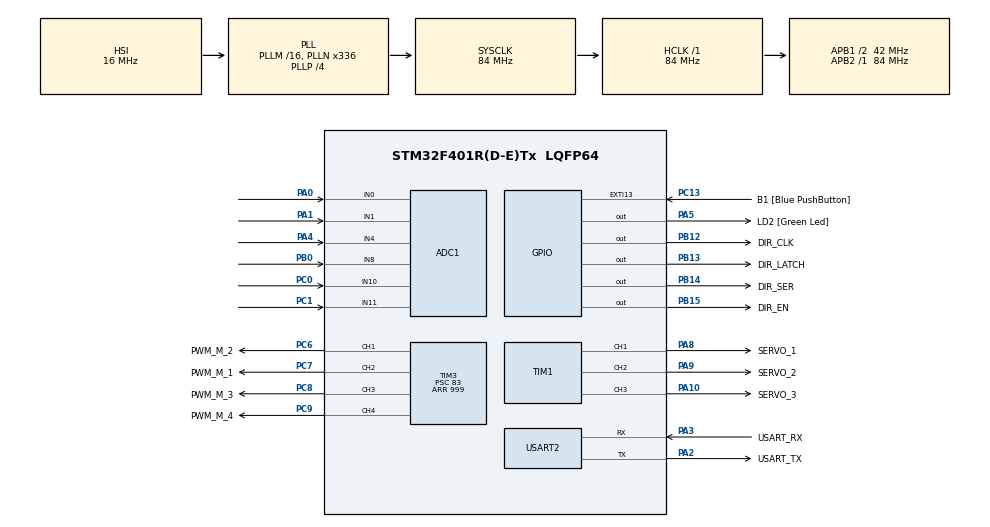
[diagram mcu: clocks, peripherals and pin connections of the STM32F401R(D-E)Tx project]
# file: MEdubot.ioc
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ADC1.Channel-0\#ChannelRegularConversion=ADC_CHANNEL_0
ADC1.Channel-1\#ChannelRegularConversion=ADC_CHANNEL_1
ADC1.Channel-2\#ChannelRegularConversion=ADC_CHANNEL_4
ADC1.Channel-3\#ChannelRegularConversion=ADC_CHANNEL_8
ADC1.Channel-4\#ChannelRegularConversion=ADC_CHANNEL_10
ADC1.Channel-5\#ChannelRegularConversion=ADC_CHANNEL_11
ADC1.ContinuousConvMode=DISABLE
ADC1.NbrOfConversion=6
ADC1.NbrOfConversionFlag=1
ADC1.Rank-0\#ChannelRegularConversion=1
ADC1.Rank-1\#ChannelRegularConversion=2
ADC1.Rank-2\#ChannelRegularConversion=3
ADC1.Rank-3\#ChannelRegularConversion=4
ADC1.Rank-4\#ChannelRegularConversion=5
ADC1.Rank-5\#ChannelRegularConversion=6
ADC1.SamplingTime-0\#ChannelRegularConversion=ADC_SAMPLETIME_3CYCLES
ADC1.SamplingTime-1\#ChannelRegularConversion=ADC_SAMPLETIME_3CYCLES
ADC1.SamplingTime-2\#ChannelRegularConversion=ADC_SAMPLETIME_3CYCLES
ADC1.SamplingTime-3\#ChannelRegularConversion=ADC_SAMPLETIME_3CYCLES
ADC1.SamplingTime-4\#ChannelRegularConversion=ADC_SAMPLETIME_3CYCLES
ADC1.SamplingTime-5\#ChannelRegularConversion=ADC_SAMPLETIME_3CYCLES
ADC1.master=1
Dma.ADC1.0.Direction=DMA_PERIPH_TO_MEMORY
Dma.ADC1.0.FIFOMode=DMA_FIFOMODE_DISABLE
Dma.ADC1.0.Instance=DMA2_Stream0
Dma.ADC1.0.MemDataAlignment=DMA_MDATAALIGN_HALFWORD
Dma.ADC1.0.MemInc=DMA_MINC_ENABLE
Dma.ADC1.0.Mode=DMA_NORMAL
Dma.ADC1.0.PeriphDataAlignment=DMA_PDATAALIGN_HALFWORD
Dma.ADC1.0.PeriphInc=DMA_PINC_DISABLE
Dma.ADC1.0.Priority=DMA_PRIORITY_LOW
Dma.Request0=ADC1
Mcu.Family=STM32F4
Mcu.Name=STM32F401R(D-E)Tx
Mcu.Package=LQFP64
NVIC.DMA2_Stream0_IRQn=true\:0\:0\:false\:false\:true\:false\:true\:true
NVIC.PriorityGroup=NVIC_PRIORITYGROUP_0
PA0-WKUP.Signal=ADCx_IN0
PA1.Signal=ADCx_IN1
PA10.GPIO_Label=SERVO_3
PA10.GPIO_PuPd=GPIO_PULLDOWN
PA10.Signal=S_TIM1_CH3
PA13.GPIO_Label=TMS
PA13.Mode=Serial_Wire
PA13.Signal=SYS_JTMS-SWDIO
PA14.GPIO_Label=TCK
PA14.Mode=Serial_Wire
PA14.Signal=SYS_JTCK-SWCLK
PA2.GPIO_Label=USART_TX
PA2.GPIO_Mode=GPIO_MODE_AF_PP
PA2.GPIO_PuPd=GPIO_NOPULL
PA2.GPIO_Speed=GPIO_SPEED_FREQ_LOW
PA2.Mode=Asynchronous
PA2.Signal=USART2_TX
PA3.GPIO_Label=USART_RX
PA3.GPIO_Mode=GPIO_MODE_AF_PP
PA3.GPIO_PuPd=GPIO_NOPULL
PA3.GPIO_Speed=GPIO_SPEED_FREQ_LOW
PA3.Mode=Asynchronous
PA3.Signal=USART2_RX
PA4.Signal=ADCx_IN4
PA5.GPIO_Label=LD2 [Green Led]
PA5.GPIO_Mode=GPIO_MODE_OUTPUT_PP
PA5.GPIO_PuPd=GPIO_NOPULL
PA5.GPIO_Speed=GPIO_SPEED_FREQ_LOW
PA5.Signal=GPIO_Output
PA8.GPIO_Label=SERVO_1
PA8.GPIO_PuPd=GPIO_PULLDOWN
PA8.Signal=S_TIM1_CH1
PA9.GPIO_Label=SERVO_2
PA9.GPIO_PuPd=GPIO_PULLDOWN
PA9.Signal=S_TIM1_CH2
PB0.Signal=ADCx_IN8
PB12.GPIO_Label=DIR_CLK
PB12.Signal=GPIO_Output
PB13.GPIO_Label=DIR_LATCH
PB13.Signal=GPIO_Output
PB14.GPIO_Label=DIR_SER
PB14.Signal=GPIO_Output
PB15.GPIO_Label=DIR_EN
PB15.Signal=GPIO_Output
PC0.Signal=ADCx_IN10
PC1.Signal=ADCx_IN11
PC13-ANTI_TAMP.GPIO_Label=B1 [Blue PushButton]
PC13-ANTI_TAMP.GPIO_ModeDefaultEXTI=GPIO_MODE_IT_FALLING
PC13-ANTI_TAMP.GPIO_PuPd=GPIO_NOPULL
PC13-ANTI_TAMP.Signal=GPXTI13
PC14-OSC32_IN.Mode=LSE-External-Oscillator
PC14-OSC32_IN.Signal=RCC_OSC32_IN
PC15-OSC32_OUT.Mode=LSE-External-Oscillator
PC15-OSC32_OUT.Signal=RCC_OSC32_OUT
PC6.GPIO_Label=PWM_M_2
PC6.GPIO_PuPd=GPIO_PULLDOWN
PC6.Signal=S_TIM3_CH1
PC7.GPIO_Label=PWM_M_1
PC7.GPIO_PuPd=GPIO_PULLDOWN
PC7.Signal=S_TIM3_CH2
PC8.GPIO_Label=PWM_M_3
PC8.GPIO_PuPd=GPIO_PULLDOWN
PC8.Signal=S_TIM3_CH3
PC9.GPIO_Label=PWM_M_4
PC9.GPIO_PuPd=GPIO_PULLDOWN
PC9.Signal=S_TIM3_CH4
PH0\ -\ OSC_IN.Mode=HSE-External-Clock-Source
PH0\ -\ OSC_IN.Signal=RCC_OSC_IN
PH1\ -\ OSC_OUT.Mode=HSE-External-Clock-Source
PH1\ -\ OSC_OUT.Signal=RCC_OSC_OUT
ProjectManager.HeapSize=0x200
ProjectManager.StackSize=0x400
ProjectManager.TargetToolchain=STM32CubeIDE
RCC.48MHZClocksFreq_Value=48000000
RCC.AHBFreq_Value=84000000
RCC.APB1CLKDivider=RCC_HCLK_DIV2
RCC.APB1Freq_Value=42000000
RCC.APB1TimFreq_Value=84000000
RCC.APB2Freq_Value=84000000
RCC.APB2TimFreq_Value=84000000
RCC.CortexFreq_Value=84000000
RCC.HCLKFreq_Value=84000000
RCC.HSE_VALUE=8000000
RCC.HSI_VALUE=16000000
RCC.PLLN=336
RCC.PLLP=RCC_PLLP_DIV4
RCC.PLLQ=7
RCC.SYSCLKFreq_VALUE=84000000
RCC.SYSCLKSource=RCC_SYSCLKSOURCE_PLLCLK
RCC.VCOOutputFreq_Value=336000000
SH.ADCx_IN0.0=ADC1_IN0,IN0
SH.ADCx_IN1.0=ADC1_IN1,IN1
SH.ADCx_IN10.0=ADC1_IN10,IN10
SH.ADCx_IN11.0=ADC1_IN11,IN11
SH.ADCx_IN4.0=ADC1_IN4,IN4
SH.ADCx_IN8.0=ADC1_IN8,IN8
SH.S_TIM1_CH1.0=TIM1_CH1,PWM Generation1 CH1
SH.S_TIM1_CH2.0=TIM1_CH2,PWM Generation2 CH2
SH.S_TIM1_CH3.0=TIM1_CH3,PWM Generation3 CH3
SH.S_TIM3_CH1.0=TIM3_CH1,PWM Generation1 CH1
SH.S_TIM3_CH2.0=TIM3_CH2,PWM Generation2 CH2
SH.S_TIM3_CH3.0=TIM3_CH3,PWM Generation3 CH3
SH.S_TIM3_CH4.0=TIM3_CH4,PWM Generation4 CH4
TIM1.Channel-PWM\ Generation1\ CH1=TIM_CHANNEL_1
TIM1.Channel-PWM\ Generation2\ CH2=TIM_CHANNEL_2
TIM1.Channel-PWM\ Generation3\ CH3=TIM_CHANNEL_3
TIM3.Channel-PWM\ Generation1\ CH1=TIM_CHANNEL_1
TIM3.Channel-PWM\ Generation2\ CH2=TIM_CHANNEL_2
TIM3.Channel-PWM\ Generation3\ CH3=TIM_CHANNEL_3
TIM3.Channel-PWM\ Generation4\ CH4=TIM_CHANNEL_4
TIM3.Period=999
TIM3.Prescaler=83
USART2.VirtualMode=VM_ASYNC
VP_TIM1_VS_ClockSourceINT.Mode=Internal
VP_TIM2_VS_ClockSourceINT.Mode=Internal
VP_TIM3_VS_ClockSourceINT.Mode=Internal
VP_TIM4_VS_ClockSourceINT.Mode=Internal
board=NUCLEO-F401RE

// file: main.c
/* USER CODE BEGIN Header */
/**
 ******************************************************************************
 * @file           : main.c
 * @brief          : Main program body
 ******************************************************************************
 * @attention
 *
 * Copyright (c) 2024 STMicroelectronics.
 * All rights reserved.
 *
 * This software is licensed under terms that can be found in the LICENSE file
 * in the root directory of this software component.
 * If no LICENSE file comes with this software, it is provided AS-IS.
 *
 ******************************************************************************
 */
/* USER CODE END Header */
#include "main.h"

/* USER CODE BEGIN PD */
#define MAX_SPEED 1000.0
#define MOTOR_DIR_FORWARD 0
#define MOTOR_DIR_STOP 1
#define MOTOR_DIR_BACK 2
#define ADC_THRESHOLD 1500
/* USER CODE END PD */

ADC_HandleTypeDef hadc1;
DMA_HandleTypeDef hdma_adc1;

TIM_HandleTypeDef htim1;
TIM_HandleTypeDef htim2;
TIM_HandleTypeDef htim3;
TIM_HandleTypeDef htim4;

UART_HandleTypeDef huart2;

/* USER CODE BEGIN PV */
uint16_t adc[6]={0};
/* USER CODE END PV */

void SystemClock_Config(void);
static void MX_GPIO_Init(void);
static void MX_DMA_Init(void);
static void MX_USART2_UART_Init(void);
static void MX_TIM2_Init(void);
static void MX_TIM3_Init(void);
static void MX_TIM4_Init(void);
static void MX_TIM1_Init(void);
static void MX_ADC1_Init(void);

/* USER CODE BEGIN 0 */
void setDirection(uint8_t left, uint8_t right) {
	uint8_t dirMessage = 0b00000000;
	uint8_t i = 0;
	if (left ==MOTOR_DIR_FORWARD) {
		dirMessage |= 0b00010000; //hátra 0b00100000
	}
	if (left == MOTOR_DIR_BACK) {
		dirMessage |= 0b00100000;
	}
	if (left == MOTOR_DIR_STOP) {
		dirMessage |= 0b00000000;
	}
	if (right ==MOTOR_DIR_FORWARD) {
		dirMessage |= 0b10000000; //hátra: 0b00000010
	}
	if (right == MOTOR_DIR_BACK) {
		dirMessage |= 0b00000010;
	}
	if (right == MOTOR_DIR_STOP) {
		dirMessage |= 0b00000000;
	}

	HAL_GPIO_WritePin(DIR_EN_GPIO_Port, DIR_EN_Pin, 0);
	HAL_GPIO_WritePin(DIR_LATCH_GPIO_Port, DIR_LATCH_Pin, 0);
	for (i = 0; i < 8; ++i) {

		if ((dirMessage) & (1 << (i))) {
			HAL_GPIO_WritePin(DIR_SER_GPIO_Port, DIR_SER_Pin, 1);
		} else {
			HAL_GPIO_WritePin(DIR_SER_GPIO_Port, DIR_SER_Pin, 0);
		}
		HAL_Delay(1);
		HAL_GPIO_WritePin(DIR_CLK_GPIO_Port, DIR_CLK_Pin, 1);
		HAL_Delay(1);
		HAL_GPIO_WritePin(DIR_CLK_GPIO_Port, DIR_CLK_Pin, 0);

	}
	HAL_Delay(1);
	HAL_GPIO_WritePin(DIR_LATCH_GPIO_Port, DIR_LATCH_Pin, 1);
	HAL_Delay(1);
	HAL_GPIO_WritePin(DIR_LATCH_GPIO_Port, DIR_LATCH_Pin, 0);

}

uint8_t getDirectionFromSpeed(int32_t speed) {
	uint8_t retValue = MOTOR_DIR_STOP;
	if (speed > 0) {
		retValue = MOTOR_DIR_FORWARD;
	} else if (speed < 0) {
		retValue = MOTOR_DIR_BACK;
	}
	return retValue;
}

uint16_t getPWMFromSpeed(int32_t speed) {
	if (speed < 0) {
		speed = speed * -1;
	}
	if (speed > MAX_SPEED) {
		speed = MAX_SPEED;
	}
	return (speed / MAX_SPEED) * htim3.Instance->ARR;
}
void setSpeed(int16_t left, int16_t right) {
	uint8_t dirLeft = getDirectionFromSpeed(left);
	uint8_t dirRight = getDirectionFromSpeed(right);
	setDirection(dirLeft, dirRight);
	htim3.Instance->CCR2 = getPWMFromSpeed(left);
	htim3.Instance->CCR3 = getPWMFromSpeed(right);
}

void determineSpeedFromAdcValues(int16_t* speedValues) {
	// BOTH wheel
	if (adc[1] > ADC_THRESHOLD) {
		speedValues[0] = 375;
		speedValues[1] = 375;
	// LEFT wheel
	} else if (adc[0] > ADC_THRESHOLD) {
		speedValues[0] = 0;
		speedValues[1] = 400;
	// RIGHT wheel
	} else if (adc[2] > ADC_THRESHOLD) {
		speedValues[0] = 400;
		speedValues[1] = 0;
	// STOP when no path found
	} else {
		speedValues[0] = 0;
		speedValues[1] = 0;
	}
}

/*
 * Obsolete function.
 * It was used for compensate left speed, ioc file configuration change handled this bug.
 */

int16_t equalizeLeftSpeed(int16_t left) {
	if (left > 0) {
		return left + 150;
	} else if (left < 0) {
		return left - 150;
	}
	return 0;
}
/* USER CODE END 0 */

int main(void)
{

  /* MCU Configuration--------------------------------------------------------*/

  /* Reset of all peripherals, Initializes the Flash interface and the Systick. */
  HAL_Init();

  /* Configure the system clock */
  SystemClock_Config();

  /* Initialize all configured peripherals */
  MX_GPIO_Init();
  MX_DMA_Init();
  MX_USART2_UART_Init();
  MX_TIM2_Init();
  MX_TIM3_Init();
  MX_TIM4_Init();
  MX_TIM1_Init();
  MX_ADC1_Init();
  /* USER CODE BEGIN 2 */
	HAL_TIM_PWM_Start(&htim3, TIM_CHANNEL_2);
	HAL_TIM_PWM_Start(&htim3, TIM_CHANNEL_3);
	int8_t isRunning = 0;
	int16_t speedValues[2];
	setSpeed(0, 0);
  /* USER CODE END 2 */

  /* Infinite loop */
  /* USER CODE BEGIN WHILE */
	while (1) {
		HAL_Delay(100);
		HAL_ADC_Start_DMA(&hadc1, adc, 6);
		HAL_GPIO_TogglePin(LD2_GPIO_Port, LD2_Pin);
		if(!HAL_GPIO_ReadPin(B1_GPIO_Port, B1_Pin)){
			isRunning = isRunning == 0 ? 1 : 0;
		}

		if (isRunning == 1) {
			determineSpeedFromAdcValues(speedValues);
			setSpeed(speedValues[0], speedValues[1]);
		} else {
			setSpeed(0,0);
		}

    /* USER CODE END WHILE */

	}
}

void SystemClock_Config(void)
{
  RCC_OscInitTypeDef RCC_OscInitStruct = {0};
  RCC_ClkInitTypeDef RCC_ClkInitStruct = {0};

  /** Configure the main internal regulator output voltage
  */
  __HAL_RCC_PWR_CLK_ENABLE();
  __HAL_PWR_VOLTAGESCALING_CONFIG(PWR_REGULATOR_VOLTAGE_SCALE2);

  /** Initializes the RCC Oscillators according to the specified parameters
  * in the RCC_OscInitTypeDef structure.
  */
  RCC_OscInitStruct.OscillatorType = RCC_OSCILLATORTYPE_HSI;
  RCC_OscInitStruct.HSIState = RCC_HSI_ON;
  RCC_OscInitStruct.HSICalibrationValue = RCC_HSICALIBRATION_DEFAULT;
  RCC_OscInitStruct.PLL.PLLState = RCC_PLL_ON;
  RCC_OscInitStruct.PLL.PLLSource = RCC_PLLSOURCE_HSI;
  RCC_OscInitStruct.PLL.PLLM = 16;
  RCC_OscInitStruct.PLL.PLLN = 336;
  RCC_OscInitStruct.PLL.PLLP = RCC_PLLP_DIV4;
  RCC_OscInitStruct.PLL.PLLQ = 7;
  if (HAL_RCC_OscConfig(&RCC_OscInitStruct) != HAL_OK)
  {
    Error_Handler();
  }

  /** Initializes the CPU, AHB and APB buses clocks
  */
  RCC_ClkInitStruct.ClockType = RCC_CLOCKTYPE_HCLK|RCC_CLOCKTYPE_SYSCLK
                              |RCC_CLOCKTYPE_PCLK1|RCC_CLOCKTYPE_PCLK2;
  RCC_ClkInitStruct.SYSCLKSource = RCC_SYSCLKSOURCE_PLLCLK;
  RCC_ClkInitStruct.AHBCLKDivider = RCC_SYSCLK_DIV1;
  RCC_ClkInitStruct.APB1CLKDivider = RCC_HCLK_DIV2;
  RCC_ClkInitStruct.APB2CLKDivider = RCC_HCLK_DIV1;

  if (HAL_RCC_ClockConfig(&RCC_ClkInitStruct, FLASH_LATENCY_2) != HAL_OK)
  {
    Error_Handler();
  }
}

static void MX_ADC1_Init(void)
{

  ADC_ChannelConfTypeDef sConfig = {0};

  /** Configure the global features of the ADC (Clock, Resolution, Data Alignment and number of conversion)
  */
  hadc1.Instance = ADC1;
  hadc1.Init.ClockPrescaler = ADC_CLOCK_SYNC_PCLK_DIV4;
  hadc1.Init.Resolution = ADC_RESOLUTION_12B;
  hadc1.Init.ScanConvMode = ENABLE;
  hadc1.Init.ContinuousConvMode = DISABLE;
  hadc1.Init.DiscontinuousConvMode = DISABLE;
  hadc1.Init.ExternalTrigConvEdge = ADC_EXTERNALTRIGCONVEDGE_NONE;
  hadc1.Init.ExternalTrigConv = ADC_SOFTWARE_START;
  hadc1.Init.DataAlign = ADC_DATAALIGN_RIGHT;
  hadc1.Init.NbrOfConversion = 6;
  hadc1.Init.DMAContinuousRequests = DISABLE;
  hadc1.Init.EOCSelection = ADC_EOC_SINGLE_CONV;
  if (HAL_ADC_Init(&hadc1) != HAL_OK)
  {
    Error_Handler();
  }

  /** Configure for the selected ADC regular channel its corresponding rank in the sequencer and its sample time.
  */
  sConfig.Channel = ADC_CHANNEL_0;
  sConfig.Rank = 1;
  sConfig.SamplingTime = ADC_SAMPLETIME_3CYCLES;
  if (HAL_ADC_ConfigChannel(&hadc1, &sConfig) != HAL_OK)
  {
    Error_Handler();
  }

  /** Configure for the selected ADC regular channel its corresponding rank in the sequencer and its sample time.
  */
  sConfig.Channel = ADC_CHANNEL_1;
  sConfig.Rank = 2;
  if (HAL_ADC_ConfigChannel(&hadc1, &sConfig) != HAL_OK)
  {
    Error_Handler();
  }

  /** Configure for the selected ADC regular channel its corresponding rank in the sequencer and its sample time.
  */
  sConfig.Channel = ADC_CHANNEL_4;
  sConfig.Rank = 3;
  if (HAL_ADC_ConfigChannel(&hadc1, &sConfig) != HAL_OK)
  {
    Error_Handler();
  }

  /** Configure for the selected ADC regular channel its corresponding rank in the sequencer and its sample time.
  */
  sConfig.Channel = ADC_CHANNEL_8;
  sConfig.Rank = 4;
  if (HAL_ADC_ConfigChannel(&hadc1, &sConfig) != HAL_OK)
  {
    Error_Handler();
  }

  /** Configure for the selected ADC regular channel its corresponding rank in the sequencer and its sample time.
  */
  sConfig.Channel = ADC_CHANNEL_10;
  sConfig.Rank = 5;
  if (HAL_ADC_ConfigChannel(&hadc1, &sConfig) != HAL_OK)
  {
    Error_Handler();
  }

  /** Configure for the selected ADC regular channel its corresponding rank in the sequencer and its sample time.
  */
  sConfig.Channel = ADC_CHANNEL_11;
  sConfig.Rank = 6;
  if (HAL_ADC_ConfigChannel(&hadc1, &sConfig) != HAL_OK)
  {
    Error_Handler();
  }

}

static void MX_TIM1_Init(void)
{

  TIM_ClockConfigTypeDef sClockSourceConfig = {0};
  TIM_MasterConfigTypeDef sMasterConfig = {0};
  TIM_OC_InitTypeDef sConfigOC = {0};
  TIM_BreakDeadTimeConfigTypeDef sBreakDeadTimeConfig = {0};

  htim1.Instance = TIM1;
  htim1.Init.Prescaler = 0;
  htim1.Init.CounterMode = TIM_COUNTERMODE_UP;
  htim1.Init.Period = 65535;
  htim1.Init.ClockDivision = TIM_CLOCKDIVISION_DIV1;
  htim1.Init.RepetitionCounter = 0;
  htim1.Init.AutoReloadPreload = TIM_AUTORELOAD_PRELOAD_DISABLE;
  if (HAL_TIM_Base_Init(&htim1) != HAL_OK)
  {
    Error_Handler();
  }
  sClockSourceConfig.ClockSource = TIM_CLOCKSOURCE_INTERNAL;
  if (HAL_TIM_ConfigClockSource(&htim1, &sClockSourceConfig) != HAL_OK)
  {
    Error_Handler();
  }
  if (HAL_TIM_PWM_Init(&htim1) != HAL_OK)
  {
    Error_Handler();
  }
  sMasterConfig.MasterOutputTrigger = TIM_TRGO_RESET;
  sMasterConfig.MasterSlaveMode = TIM_MASTERSLAVEMODE_DISABLE;
  if (HAL_TIMEx_MasterConfigSynchronization(&htim1, &sMasterConfig) != HAL_OK)
  {
    Error_Handler();
  }
  sConfigOC.OCMode = TIM_OCMODE_PWM1;
  sConfigOC.Pulse = 0;
  sConfigOC.OCPolarity = TIM_OCPOLARITY_HIGH;
  sConfigOC.OCNPolarity = TIM_OCNPOLARITY_HIGH;
  sConfigOC.OCFastMode = TIM_OCFAST_DISABLE;
  sConfigOC.OCIdleState = TIM_OCIDLESTATE_RESET;
  sConfigOC.OCNIdleState = TIM_OCNIDLESTATE_RESET;
  if (HAL_TIM_PWM_ConfigChannel(&htim1, &sConfigOC, TIM_CHANNEL_1) != HAL_OK)
  {
    Error_Handler();
  }
  if (HAL_TIM_PWM_ConfigChannel(&htim1, &sConfigOC, TIM_CHANNEL_2) != HAL_OK)
  {
    Error_Handler();
  }
  if (HAL_TIM_PWM_ConfigChannel(&htim1, &sConfigOC, TIM_CHANNEL_3) != HAL_OK)
  {
    Error_Handler();
  }
  sBreakDeadTimeConfig.OffStateRunMode = TIM_OSSR_DISABLE;
  sBreakDeadTimeConfig.OffStateIDLEMode = TIM_OSSI_DISABLE;
  sBreakDeadTimeConfig.LockLevel = TIM_LOCKLEVEL_OFF;
  sBreakDeadTimeConfig.DeadTime = 0;
  sBreakDeadTimeConfig.BreakState = TIM_BREAK_DISABLE;
  sBreakDeadTimeConfig.BreakPolarity = TIM_BREAKPOLARITY_HIGH;
  sBreakDeadTimeConfig.AutomaticOutput = TIM_AUTOMATICOUTPUT_DISABLE;
  if (HAL_TIMEx_ConfigBreakDeadTime(&htim1, &sBreakDeadTimeConfig) != HAL_OK)
  {
    Error_Handler();
  }
  HAL_TIM_MspPostInit(&htim1);

}

static void MX_TIM2_Init(void)
{

  TIM_ClockConfigTypeDef sClockSourceConfig = {0};
  TIM_MasterConfigTypeDef sMasterConfig = {0};

  htim2.Instance = TIM2;
  htim2.Init.Prescaler = 0;
  htim2.Init.CounterMode = TIM_COUNTERMODE_UP;
  htim2.Init.Period = 4294967295;
  htim2.Init.ClockDivision = TIM_CLOCKDIVISION_DIV1;
  htim2.Init.AutoReloadPreload = TIM_AUTORELOAD_PRELOAD_DISABLE;
  if (HAL_TIM_Base_Init(&htim2) != HAL_OK)
  {
    Error_Handler();
  }
  sClockSourceConfig.ClockSource = TIM_CLOCKSOURCE_INTERNAL;
  if (HAL_TIM_ConfigClockSource(&htim2, &sClockSourceConfig) != HAL_OK)
  {
    Error_Handler();
  }
  sMasterConfig.MasterOutputTrigger = TIM_TRGO_RESET;
  sMasterConfig.MasterSlaveMode = TIM_MASTERSLAVEMODE_DISABLE;
  if (HAL_TIMEx_MasterConfigSynchronization(&htim2, &sMasterConfig) != HAL_OK)
  {
    Error_Handler();
  }

}

static void MX_TIM3_Init(void)
{

  TIM_ClockConfigTypeDef sClockSourceConfig = {0};
  TIM_MasterConfigTypeDef sMasterConfig = {0};
  TIM_OC_InitTypeDef sConfigOC = {0};

  htim3.Instance = TIM3;
  htim3.Init.Prescaler = 83;
  htim3.Init.CounterMode = TIM_COUNTERMODE_UP;
  htim3.Init.Period = 999;
  htim3.Init.ClockDivision = TIM_CLOCKDIVISION_DIV1;
  htim3.Init.AutoReloadPreload = TIM_AUTORELOAD_PRELOAD_DISABLE;
  if (HAL_TIM_Base_Init(&htim3) != HAL_OK)
  {
    Error_Handler();
  }
  sClockSourceConfig.ClockSource = TIM_CLOCKSOURCE_INTERNAL;
  if (HAL_TIM_ConfigClockSource(&htim3, &sClockSourceConfig) != HAL_OK)
  {
    Error_Handler();
  }
  if (HAL_TIM_PWM_Init(&htim3) != HAL_OK)
  {
    Error_Handler();
  }
  sMasterConfig.MasterOutputTrigger = TIM_TRGO_RESET;
  sMasterConfig.MasterSlaveMode = TIM_MASTERSLAVEMODE_DISABLE;
  if (HAL_TIMEx_MasterConfigSynchronization(&htim3, &sMasterConfig) != HAL_OK)
  {
    Error_Handler();
  }
  sConfigOC.OCMode = TIM_OCMODE_PWM1;
  sConfigOC.Pulse = 0;
  sConfigOC.OCPolarity = TIM_OCPOLARITY_HIGH;
  sConfigOC.OCFastMode = TIM_OCFAST_DISABLE;
  if (HAL_TIM_PWM_ConfigChannel(&htim3, &sConfigOC, TIM_CHANNEL_1) != HAL_OK)
  {
    Error_Handler();
  }
  if (HAL_TIM_PWM_ConfigChannel(&htim3, &sConfigOC, TIM_CHANNEL_2) != HAL_OK)
  {
    Error_Handler();
  }
  if (HAL_TIM_PWM_ConfigChannel(&htim3, &sConfigOC, TIM_CHANNEL_3) != HAL_OK)
  {
    Error_Handler();
  }
  if (HAL_TIM_PWM_ConfigChannel(&htim3, &sConfigOC, TIM_CHANNEL_4) != HAL_OK)
  {
    Error_Handler();
  }
  HAL_TIM_MspPostInit(&htim3);

}

static void MX_TIM4_Init(void)
{

  TIM_ClockConfigTypeDef sClockSourceConfig = {0};
  TIM_MasterConfigTypeDef sMasterConfig = {0};

  htim4.Instance = TIM4;
  htim4.Init.Prescaler = 0;
  htim4.Init.CounterMode = TIM_COUNTERMODE_UP;
  htim4.Init.Period = 65535;
  htim4.Init.ClockDivision = TIM_CLOCKDIVISION_DIV1;
  htim4.Init.AutoReloadPreload = TIM_AUTORELOAD_PRELOAD_DISABLE;
  if (HAL_TIM_Base_Init(&htim4) != HAL_OK)
  {
    Error_Handler();
  }
  sClockSourceConfig.ClockSource = TIM_CLOCKSOURCE_INTERNAL;
  if (HAL_TIM_ConfigClockSource(&htim4, &sClockSourceConfig) != HAL_OK)
  {
    Error_Handler();
  }
  sMasterConfig.MasterOutputTrigger = TIM_TRGO_RESET;
  sMasterConfig.MasterSlaveMode = TIM_MASTERSLAVEMODE_DISABLE;
  if (HAL_TIMEx_MasterConfigSynchronization(&htim4, &sMasterConfig) != HAL_OK)
  {
    Error_Handler();
  }

}

static void MX_USART2_UART_Init(void)
{

  huart2.Instance = USART2;
  huart2.Init.BaudRate = 115200;
  huart2.Init.WordLength = UART_WORDLENGTH_8B;
  huart2.Init.StopBits = UART_STOPBITS_1;
  huart2.Init.Parity = UART_PARITY_NONE;
  huart2.Init.Mode = UART_MODE_TX_RX;
  huart2.Init.HwFlowCtl = UART_HWCONTROL_NONE;
  huart2.Init.OverSampling = UART_OVERSAMPLING_16;
  if (HAL_UART_Init(&huart2) != HAL_OK)
  {
    Error_Handler();
  }

}

static void MX_DMA_Init(void)
{

  /* DMA controller clock enable */
  __HAL_RCC_DMA2_CLK_ENABLE();

  /* DMA interrupt init */
  /* DMA2_Stream0_IRQn interrupt configuration */
  HAL_NVIC_SetPriority(DMA2_Stream0_IRQn, 0, 0);
  HAL_NVIC_EnableIRQ(DMA2_Stream0_IRQn);

}

static void MX_GPIO_Init(void)
{
  GPIO_InitTypeDef GPIO_InitStruct = {0};

  /* GPIO Ports Clock Enable */
  __HAL_RCC_GPIOC_CLK_ENABLE();
  __HAL_RCC_GPIOH_CLK_ENABLE();
  __HAL_RCC_GPIOA_CLK_ENABLE();
  __HAL_RCC_GPIOB_CLK_ENABLE();

  /*Configure GPIO pin Output Level */
  HAL_GPIO_WritePin(LD2_GPIO_Port, LD2_Pin, GPIO_PIN_RESET);

  /*Configure GPIO pin Output Level */
  HAL_GPIO_WritePin(GPIOB, DIR_CLK_Pin|DIR_LATCH_Pin|DIR_SER_Pin|DIR_EN_Pin, GPIO_PIN_RESET);

  /*Configure GPIO pin : B1_Pin */
  GPIO_InitStruct.Pin = B1_Pin;
  GPIO_InitStruct.Mode = GPIO_MODE_IT_FALLING;
  GPIO_InitStruct.Pull = GPIO_NOPULL;
  HAL_GPIO_Init(B1_GPIO_Port, &GPIO_InitStruct);

  /*Configure GPIO pin : LD2_Pin */
  GPIO_InitStruct.Pin = LD2_Pin;
  GPIO_InitStruct.Mode = GPIO_MODE_OUTPUT_PP;
  GPIO_InitStruct.Pull = GPIO_NOPULL;
  GPIO_InitStruct.Speed = GPIO_SPEED_FREQ_LOW;
  HAL_GPIO_Init(LD2_GPIO_Port, &GPIO_InitStruct);

  /*Configure GPIO pins : DIR_CLK_Pin DIR_LATCH_Pin DIR_SER_Pin DIR_EN_Pin */
  GPIO_InitStruct.Pin = DIR_CLK_Pin|DIR_LATCH_Pin|DIR_SER_Pin|DIR_EN_Pin;
  GPIO_InitStruct.Mode = GPIO_MODE_OUTPUT_PP;
  GPIO_InitStruct.Pull = GPIO_NOPULL;
  GPIO_InitStruct.Speed = GPIO_SPEED_FREQ_LOW;
  HAL_GPIO_Init(GPIOB, &GPIO_InitStruct);

}

void Error_Handler(void)
{
	__disable_irq();
	while (1) {
	}
}
